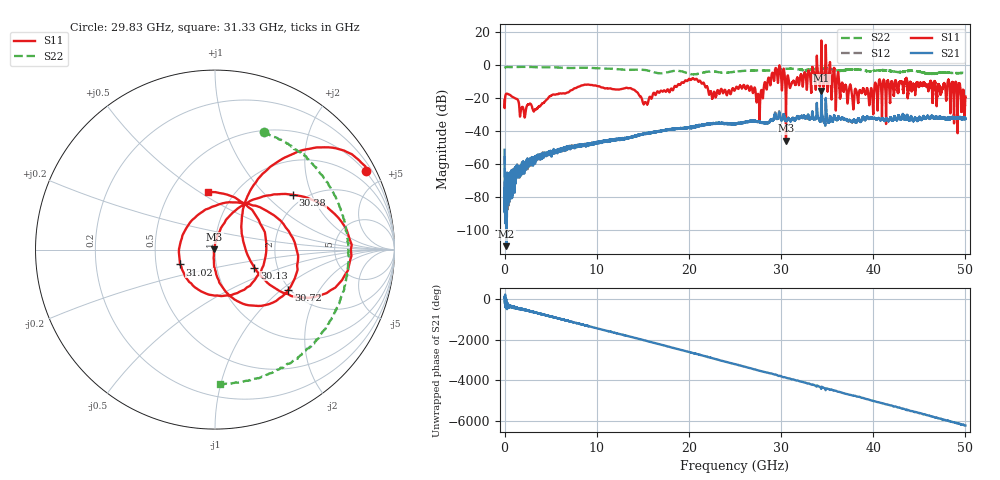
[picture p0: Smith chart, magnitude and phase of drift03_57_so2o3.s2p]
!Created with skrf (http://scikit-rf.org).
# Hz S RI R 50.0
!freq ReS11 ImS11 ReS21 ImS21 ReS12 ImS12 ReS22 ImS22
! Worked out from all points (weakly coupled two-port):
!   10001 points, 300 kHz to 50 GHz, reference 50 ohm
!   highest |S21| = -15.85 dB at 34.37 GHz (marker M1); lowest = -110.1 dB at 190.3 MHz (marker M2)
!   lowest |S11| = -46.0 dB at 30.53 GHz (marker M3), VSWR 1.01, Z = 49.6 + j0.246 ohm
!   |S11| at or under -10 dB: start of sweep to 19.55 GHz; 21.25 GHz to 28.55 GHz (7.298 GHz wide, 29.3 % of centre); 36.28 GHz to 40.62 GHz (4.334 GHz wide, 11.3 % of centre) (the widest 3 of 41)
!   |S22| runs from -5.9 to -1.3 dB; largest |S21 - S12| = 0.028
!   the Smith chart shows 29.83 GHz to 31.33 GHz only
!   S11 on the Smith chart (normalised r, x): 29.83 GHz: 0.46, +4.06; 30.13 GHz: 1.52, -0.32; 30.38 GHz: 1.74, +1.48; 30.72 GHz: 1.96, -1.12; 31.02 GHz: 0.67, -0.11; 31.33 GHz: 0.76, +0.54
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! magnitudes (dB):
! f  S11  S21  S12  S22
! 300 kHz  -21.3  -51.6  -55.3  -2.1
! 190.3 MHz  -17.6  -110.1  -79.1  -1.5
! 3.3 GHz  -27.2  -57.3  -58.2  -1.5
! 8.335 GHz  -12.6  -49.3  -49.3  -1.9
! 15.28 GHz  -22.8  -42.1  -41.7  -3.3
! 16.67 GHz  -16.5  -40.7  -40.7  -5.2
! 20.26 GHz  -9.2  -37.8  -38.0  -5.8
! 22.71 GHz  -16.4  -35.6  -35.6  -4.2
! 25 GHz  -15.2  -35.9  -35.7  -4.3
! 27.53 GHz  -17.8  -34.6  -34.5  -3.5
! 29.83 GHz  -0.5  -29.1  -28.4  -3.0
! 30.13 GHz  -12.3  -33.5  -33.8  -2.8
! 30.38 GHz  -5.5  -32.0  -32.3  -2.6
! 30.53 GHz  -46.0  -34.1  -34.1  -2.5
! 30.72 GHz  -6.6  -32.9  -32.8  -2.5
! 31.02 GHz  -13.5  -34.2  -34.3  -2.4
! 31.33 GHz  -9.8  -32.4  -32.4  -2.5
! 33.34 GHz  -7.5  -31.0  -31.2  -2.9
! 34.37 GHz  14.7  -15.9  -17.0  -2.2
! 37.86 GHz  -26.9  -33.7  -34.1  -2.9
! 41.67 GHz  -11.4  -34.1  -34.1  -3.7
! 50 GHz  -19.3  -32.9  -32.8  -4.9
